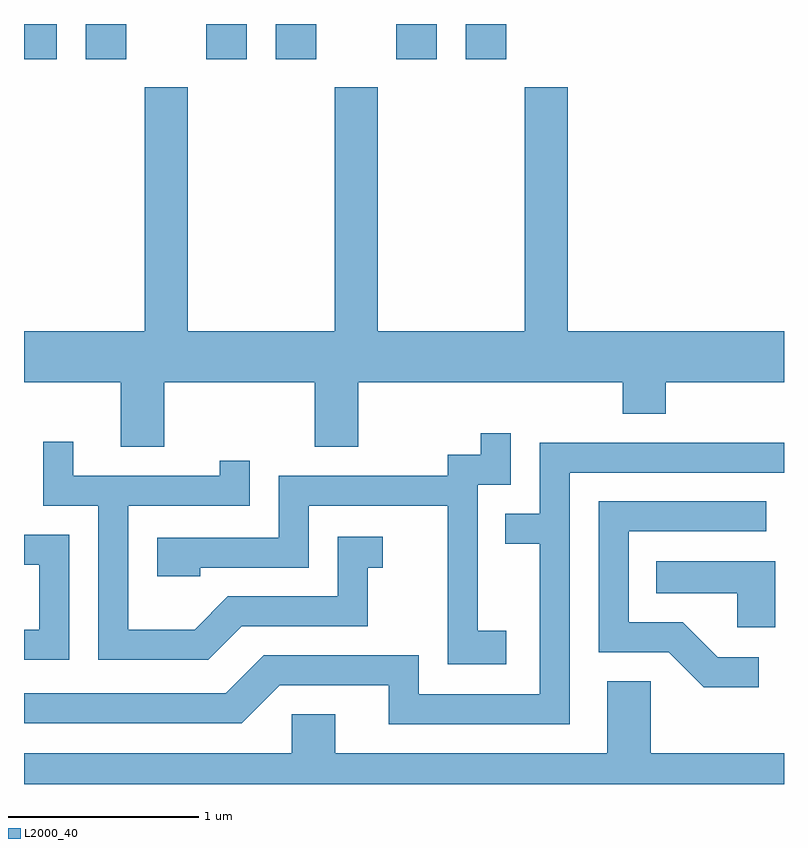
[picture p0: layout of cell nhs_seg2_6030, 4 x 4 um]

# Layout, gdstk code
import gdstk
lib = gdstk.Library(unit=1e-6, precision=1e-09)
def R(c, l, rs):  # rectangles x0, y0, x1, y1
    for r in rs: c.add(gdstk.rectangle(r[:2], r[2:], *l))
def P(c, l, *ps):  # polygons
    for p in ps: c.add(gdstk.Polygon(p, *l))
L2000_40 = (2000, 40)

nhs_seg2_6030 = lib.new_cell('nhs_seg2_6030')
R(nhs_seg2_6030, L2000_40, [(363.611,1005.616,363.784,1005.802), (363.936,1005.616,364.149,1005.802), (364.571,1005.616,364.784,1005.802), (364.936,1005.616,365.149,1005.802), (365.571,1005.616,365.784,1005.802), (365.936,1005.616,366.149,1005.802)])
P(nhs_seg2_6030, L2000_40, [(363.611,1003.916),(364.121,1003.916),(364.121,1003.576),(364.349,1003.576),(364.349,1003.916),(365.141,1003.916),(365.141,1003.576),(365.369,1003.576),(365.369,1003.916),(366.761,1003.916),(366.761,1003.751),(366.989,1003.751),(366.989,1003.916),(367.611,1003.916),(367.611,1004.184),(366.474,1004.184),(366.474,1005.469),(366.246,1005.469),(366.246,1004.184),(365.474,1004.184),(365.474,1005.469),(365.246,1005.469),(365.246,1004.184),(364.474,1004.184),(364.474,1005.469),(364.246,1005.469),(364.246,1004.184),(363.611,1004.184)],
  [(366.149,1002.609),(365.999,1002.609),(365.999,1003.376),(366.174,1003.376),(366.174,1003.648),(366.016,1003.648),(366.016,1003.534),(365.841,1003.534),(365.841,1003.424),(364.951,1003.424),(364.951,1003.099),(364.311,1003.099),(364.311,1002.896),(364.539,1002.896),(364.539,1002.941),(365.109,1002.941),(365.109,1003.266),(365.841,1003.266),(365.841,1002.431),(366.149,1002.431)],
  [(364.757,1002.631),(365.419,1002.631),(365.419,1002.941),(365.498,1002.941),(365.498,1003.104),(365.261,1003.104),(365.261,1002.789),(364.684,1002.789),(364.509,1002.614),(364.159,1002.614),(364.159,1003.266),(364.799,1003.266),(364.799,1003.503),(364.641,1003.503),(364.641,1003.424),(363.869,1003.424),(363.869,1003.603),(363.711,1003.603),(363.711,1003.266),(364.001,1003.266),(364.001,1002.456),(364.582,1002.456)],
  [(366.484,1003.441),(367.611,1003.441),(367.611,1003.599),(366.326,1003.599),(366.326,1003.224),(366.143,1003.224),(366.143,1003.066),(366.326,1003.066),(366.326,1002.274),(365.689,1002.274),(365.689,1002.479),(364.874,1002.479),(364.674,1002.279),(363.611,1002.279),(363.611,1002.121),(364.757,1002.121),(364.957,1002.321),(365.531,1002.321),(365.531,1002.116),(366.484,1002.116)],
  [(367.478,1002.469),(367.262,1002.469),(367.077,1002.654),(366.794,1002.654),(366.794,1003.131),(367.518,1003.131),(367.518,1003.289),(366.636,1003.289),(366.636,1002.496),(367.004,1002.496),(367.189,1002.311),(367.478,1002.311)],
  [(363.849,1003.114),(363.611,1003.114),(363.611,1002.956),(363.691,1002.956),(363.691,1002.614),(363.613,1002.614),(363.613,1002.456),(363.849,1002.456)],
  [(367.564,1002.974),(366.938,1002.974),(366.938,1002.806),(367.366,1002.806),(367.366,1002.626),(367.564,1002.626)],
  [(367.611,1001.964),(366.909,1001.964),(366.909,1002.344),(366.681,1002.344),(366.681,1001.964),(365.249,1001.964),(365.249,1002.169),(365.021,1002.169),(365.021,1001.964),(363.611,1001.964),(363.611,1001.802),(367.611,1001.802)])

lib.write_gds('nhs_seg2_6030.gds')
